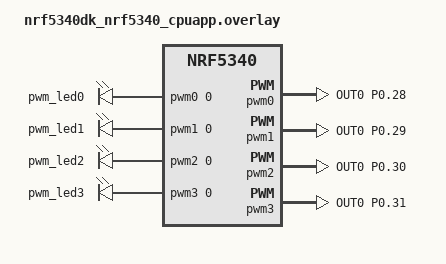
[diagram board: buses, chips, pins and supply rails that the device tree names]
/*
 * Device tree overlay for nRF5340 DK PWM LED configuration
 * 
 * This overlay file configures the PWM (Pulse Width Modulation) functionality
 * for controlling LEDs on the nRF5340 Development Kit. It maps each of the 4
 * user LEDs to separate PWM channels for independent brightness control.
 */

/ {
    /*
     * Define PWM-controlled LEDs
     * The pwmleds node creates a collection of LEDs that can be controlled
     * via PWM signals, allowing for brightness control and fading effects.
     */
    pwmleds {
        compatible = "pwm-leds";  /* Tells Zephyr this is a PWM LED driver */
        
        /*
         * PWM LED 0 - Maps to User LED 1 on nRF5340 DK (Green LED)
         * - Uses PWM instance 0, channel 0
         * - Period set to 1ms (1kHz frequency) for smooth fading
         * - Inverted polarity because LEDs are active-low on this board
         */
        pwm_led0: pwm_led_0 {
            pwms = <&pwm0 0 PWM_MSEC(1) PWM_POLARITY_INVERTED>;
        };
        
        /*
         * PWM LED 1 - Maps to User LED 2 on nRF5340 DK (Green LED)
         * Each LED gets its own PWM instance for independent control
         */
        pwm_led1: pwm_led_1 {
            pwms = <&pwm1 0 PWM_MSEC(1) PWM_POLARITY_INVERTED>;
        };
        
        /*
         * PWM LED 2 - Maps to User LED 3 on nRF5340 DK (Green LED)
         */
        pwm_led2: pwm_led_2 {
            pwms = <&pwm2 0 PWM_MSEC(1) PWM_POLARITY_INVERTED>;
        };
        
        /*
         * PWM LED 3 - Maps to User LED 4 on nRF5340 DK (Green LED)
         */
        pwm_led3: pwm_led_3 {
            pwms = <&pwm3 0 PWM_MSEC(1) PWM_POLARITY_INVERTED>;
        };
    };
    
    /*
     * Create aliases for easy access from application code
     * These aliases allow the main.c code to reference LEDs by name
     * instead of using complex device tree paths
     */
    aliases {
        pwm-led0 = &pwm_led0;  /* Application can use DT_ALIAS(pwm_led0) */
        pwm-led1 = &pwm_led1;
        pwm-led2 = &pwm_led2;
        pwm-led3 = &pwm_led3;
    };
};

/*
 * Configure PWM instance 0
 * This controls the first LED (LED1 on the board)
 */
&pwm0 {
    status = "okay";                    /* Enable this PWM instance */
    pinctrl-0 = <&pwm0_default>;       /* Pin configuration for normal operation */
    pinctrl-1 = <&pwm0_sleep>;         /* Pin configuration for sleep mode */
    pinctrl-names = "default", "sleep"; /* Names for the pin control states */
};

/*
 * Configure PWM instance 1 for LED2
 */
&pwm1 {
    status = "okay";
    pinctrl-0 = <&pwm1_default>;
    pinctrl-1 = <&pwm1_sleep>;
    pinctrl-names = "default", "sleep";
};

/*
 * Configure PWM instance 2 for LED3
 */
&pwm2 {
    status = "okay";
    pinctrl-0 = <&pwm2_default>;
    pinctrl-1 = <&pwm2_sleep>;
    pinctrl-names = "default", "sleep";
};

/*
 * Configure PWM instance 3 for LED4
 */
&pwm3 {
    status = "okay";
    pinctrl-0 = <&pwm3_default>;
    pinctrl-1 = <&pwm3_sleep>;
    pinctrl-names = "default", "sleep";
};

/*
 * Pin control configuration section
 * This maps PWM outputs to specific GPIO pins on the nRF5340
 * The nRF5340 DK has LEDs connected to pins P0.28, P0.29, P0.30, P0.31
 */
&pinctrl {
    /*
     * PWM0 pin configuration for normal operation
     * Maps PWM0 output to GPIO pin P0.28 (LED1)
     */
    pwm0_default: pwm0_default {
        group1 {
            psels = <NRF_PSEL(PWM_OUT0, 0, 28)>; /* Port 0, Pin 28 = LED1 */
        };
    };
    
    /*
     * PWM0 pin configuration for sleep mode
     * Enables low-power mode for the pin when system sleeps
     */
    pwm0_sleep: pwm0_sleep {
        group1 {
            psels = <NRF_PSEL(PWM_OUT0, 0, 28)>;
            low-power-enable;  /* Reduces power consumption in sleep */
        };
    };
    
    /*
     * PWM1 pin configuration for LED2 (P0.29)
     */
    pwm1_default: pwm1_default {
        group1 {
            psels = <NRF_PSEL(PWM_OUT0, 0, 29)>; /* Port 0, Pin 29 = LED2 */
        };
    };
    
    pwm1_sleep: pwm1_sleep {
        group1 {
            psels = <NRF_PSEL(PWM_OUT0, 0, 29)>;
            low-power-enable;
        };
    };
    
    /*
     * PWM2 pin configuration for LED3 (P0.30)
     */
    pwm2_default: pwm2_default {
        group1 {
            psels = <NRF_PSEL(PWM_OUT0, 0, 30)>; /* Port 0, Pin 30 = LED3 */
        };
    };
    
    pwm2_sleep: pwm2_sleep {
        group1 {
            psels = <NRF_PSEL(PWM_OUT0, 0, 30)>;
            low-power-enable;
        };
    };
    
    /*
     * PWM3 pin configuration for LED4 (P0.31)
     */
    pwm3_default: pwm3_default {
        group1 {
            psels = <NRF_PSEL(PWM_OUT0, 0, 31)>; /* Port 0, Pin 31 = LED4 */
        };
    };
    
    pwm3_sleep: pwm3_sleep {
        group1 {
            psels = <NRF_PSEL(PWM_OUT0, 0, 31)>;
            low-power-enable;
        };
    };
};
